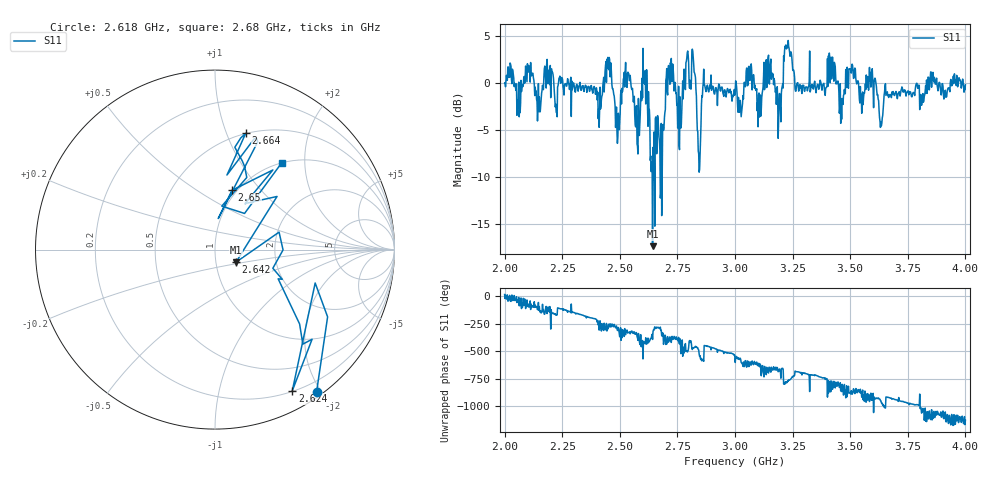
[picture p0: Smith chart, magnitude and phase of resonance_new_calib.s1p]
# HZ S RI R 50
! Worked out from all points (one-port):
!   1010 points, 2 GHz to 4 GHz, reference 50 ohm
!   lowest |S11| = -17.3 dB at 2.642 GHz (marker M1), VSWR 1.32, Z = 62.5 - j8.95 ohm
!   |S11| at or under -10 dB: 2.64055 GHz to 2.643604 GHz (3.054 MHz wide, 0.116 % of centre); 2.675052 GHz to 2.678354 GHz (3.302 MHz wide, 0.123 % of centre); 2.681037 GHz to 2.683994 GHz (2.957 MHz wide, 0.11 % of centre) (the widest 3 of 5)
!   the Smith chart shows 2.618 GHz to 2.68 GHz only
!   S11 on the Smith chart (normalised r, x): 2.618 GHz: 0.06, -1.94; 2.624 GHz: 0.21, -1.67; 2.642 GHz: 1.25, -0.18; 2.65 GHz: 0.95, +0.71; 2.664 GHz: 0.50, +1.17; 2.68 GHz: 1.00, +1.54
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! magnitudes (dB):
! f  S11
! 2 GHz  0.0
! 2.252 GHz  0.3
! 2.412 GHz  -2.9
! 2.454 GHz  2.7
! 2.501 GHz  -3.3
! 2.618 GHz  -0.2
! 2.624 GHz  -0.9
! 2.642 GHz  -17.3
! 2.65 GHz  -9.3
! 2.664 GHz  -3.5
! 2.68 GHz  -4.3
! 2.714 GHz  1.4
! 2.751 GHz  -4.8
! 2.789 GHz  2.3
! 2.823 GHz  1.1
! 2.844 GHz  -9.5
! 2.87 GHz  -0.5
! 3.001 GHz  -0.8
! 3.152 GHz  1.6
! 3.189 GHz  -4.1
! 3.221 GHz  4.0
! 3.251 GHz  1.3
! 3.415 GHz  2.5
! 3.463 GHz  -3.9
! 3.5 GHz  1.5
! 3.633 GHz  -4.2
! 3.75 GHz  -1.0
! 4 GHz  -0.2
